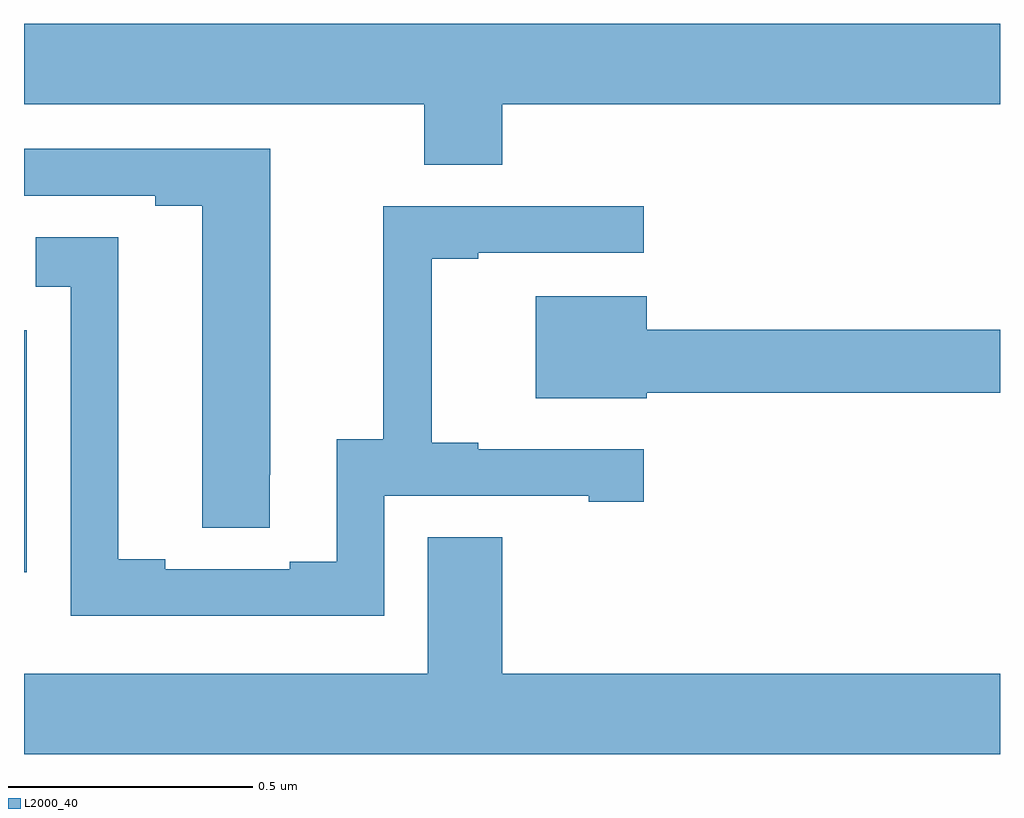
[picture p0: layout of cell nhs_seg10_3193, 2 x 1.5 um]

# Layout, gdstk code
import gdstk
lib = gdstk.Library(unit=1e-6, precision=1e-09)
def R(c, l, rs):  # rectangles x0, y0, x1, y1
    for r in rs: c.add(gdstk.rectangle(r[:2], r[2:], *l))
def P(c, l, *ps):  # polygons
    for p in ps: c.add(gdstk.Polygon(p, *l))
L2000_40 = (2000, 40)

nhs_seg10_3193 = lib.new_cell('nhs_seg10_3193')
R(nhs_seg10_3193, L2000_40, [(150,1298.024,150.006,1298.52)])
P(nhs_seg10_3193, L2000_40, [(150.98,1298.984),(152,1298.984),(152,1299.148),(150,1299.148),(150,1298.984),(150.82,1298.984),(150.82,1298.86),(150.98,1298.86)],
  [(150.504,1298.224),(150.505,1298.224),(150.505,1298.892),(150,1298.892),(150,1298.796),(150.269,1298.796),(150.269,1298.776),(150.365,1298.776),(150.365,1298.116),(150.504,1298.116)],
  [(150.738,1298.181),(151.157,1298.181),(151.157,1298.169),(151.27,1298.169),(151.27,1298.277),(150.931,1298.277),(150.931,1298.29),(150.836,1298.29),(150.836,1298.667),(150.931,1298.667),(150.931,1298.679),(151.27,1298.679),(151.27,1298.775),(150.736,1298.775),(150.736,1298.297),(150.641,1298.297),(150.641,1298.046),(150.545,1298.046),(150.545,1298.031),(150.289,1298.031),(150.289,1298.051),(150.193,1298.051),(150.193,1298.711),(150.024,1298.711),(150.024,1298.61),(150.096,1298.61),(150.096,1297.935),(150.738,1297.935)],
  [(151.276,1298.392),(152,1298.392),(152,1298.521),(151.276,1298.521),(151.276,1298.59),(151.049,1298.59),(151.049,1298.381),(151.276,1298.381)],
  [(152,1297.816),(150.98,1297.816),(150.98,1298.096),(150.827,1298.096),(150.827,1297.816),(150,1297.816),(150,1297.652),(152,1297.652)])

lib.write_gds('nhs_seg10_3193.gds')
